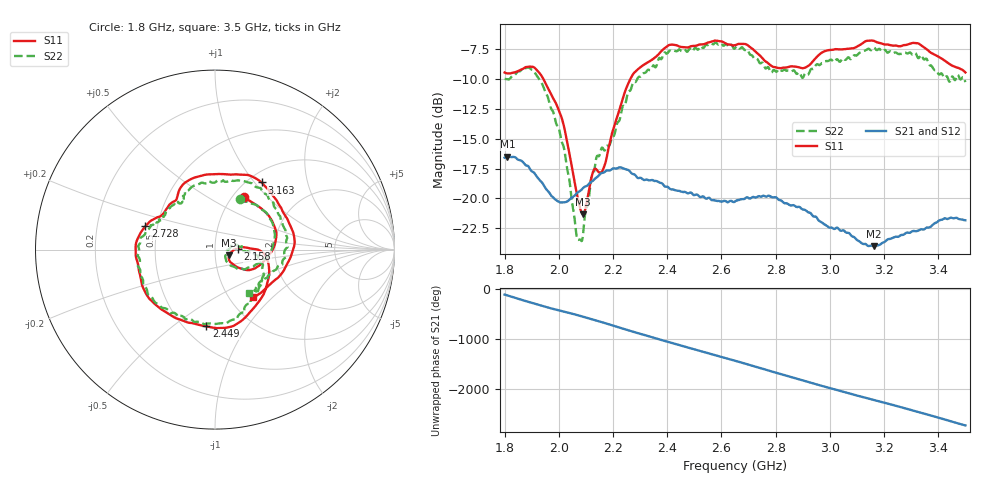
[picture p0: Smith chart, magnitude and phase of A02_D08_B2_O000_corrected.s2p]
! Created with skrf 1.9.0 (http://scikit-rf.org).
# Hz S RI R 50.0
!freq ReS11 ImS11 ReS21 ImS21 ReS12 ImS12 ReS22 ImS22
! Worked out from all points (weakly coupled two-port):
!   1601 points, 1.8 GHz to 3.5 GHz, reference 50 ohm
!   highest |S21| = -16.50 dB at 1.811 GHz (marker M1); lowest = -24.0 dB at 3.161 GHz (marker M2)
!   lowest |S11| = -21.3 dB at 2.089 GHz (marker M3), VSWR 1.19, Z = 58.5 - j3.84 ohm
!   |S11| at or under -10 dB: 1.943 GHz to 2.264 GHz (321.4 MHz wide, 15.3 % of centre)
!   |S22| runs from -23.6 to -7.0 dB; largest |S21 - S12| = 0.0032
!   S11 on the Smith chart (normalised r, x): 1.8 GHz: 1.12, +0.75; 2.158 GHz: 1.30, +0.01; 2.449 GHz: 0.64, -0.67; 2.728 GHz: 0.43, +0.13; 3.163 GHz: 1.15, +1.09; 3.5 GHz: 1.28, -0.76
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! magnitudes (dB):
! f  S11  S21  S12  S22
! 1.8 GHz  -9.5  -16.6  -16.6  -10.0
! 1.811 GHz  -9.5  -16.5  -16.5  -10.0
! 1.887 GHz  -9.0  -17.3  -17.4  -9.0
! 1.94 GHz  -9.9  -18.7  -18.8  -10.5
! 2.013 GHz  -13.4  -20.3  -20.3  -15.4
! 2.066 GHz  -19.5  -19.6  -19.6  -23.2
! 2.084 GHz  -21.2  -19.3  -19.2  -23.6
! 2.089 GHz  -21.3  -19.1  -19.2  -23.1
! 2.127 GHz  -17.7  -18.5  -18.5  -18.0
! 2.158 GHz  -17.8  -17.9  -17.9  -15.8
! 2.262 GHz  -10.1  -17.7  -17.8  -11.0
! 2.367 GHz  -8.0  -18.6  -18.6  -8.4
! 2.449 GHz  -7.3  -19.4  -19.4  -7.6
! 2.65 GHz  -7.2  -20.3  -20.2  -7.4
! 2.728 GHz  -7.8  -19.9  -19.9  -8.3
! 2.808 GHz  -9.1  -20.0  -20.0  -9.3
! 2.934 GHz  -8.6  -21.4  -21.4  -9.2
! 3.161 GHz  -6.8  -24.0  -23.9  -7.4
! 3.163 GHz  -6.8  -24.0  -24.0  -7.4
! 3.217 GHz  -7.2  -23.4  -23.4  -7.8
! 3.326 GHz  -7.0  -22.7  -22.7  -8.3
! 3.5 GHz  -9.5  -21.8  -21.8  -10.3
